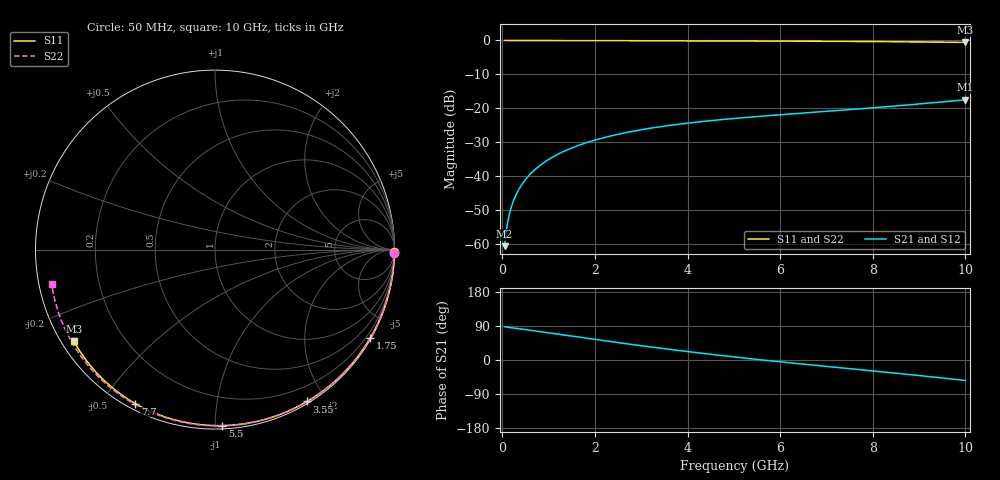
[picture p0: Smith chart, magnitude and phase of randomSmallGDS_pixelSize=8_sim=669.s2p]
! freq	dB(S11)	phase(S11)	dB(S12)	phase(S12)
!  dB(S21)	phase(S21)	dB(S22)	phase(S22)
!S-par simulation data
#  GHz  S  DB  R 50
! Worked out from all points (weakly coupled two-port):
!   200 points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, 50 MHz to 10 GHz, reference 50 ohm
!   highest |S21| = -17.46 dB at 10 GHz (marker M1); lowest = -60.5 dB at 50 MHz (marker M2)
!   lowest |S11| = -0.6 dB at 10 GHz (marker M3), VSWR 30.94, Z = 1.76 - j14.8 ohm
!   |S11| at or under -10 dB: nowhere
!   |S22| runs from -0.6 to 0.0 dB; largest |S21 - S12| = 0
!   S11 on the Smith chart (normalised r, x): 50 MHz: open; 1.75 GHz: 0.04, -3.76; 3.55 GHz: 0.02, -1.78; 5.5 GHz: 0.02, -1.04; 7.7 GHz: 0.02, -0.61; 10 GHz: 0.04, -0.30
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0.05  -0.00 -0.9  -60.53 87.9  -60.53 87.9  -0.00 -1.0
0.1  -0.00 -1.7  -54.65 86.6  -54.65 86.6  -0.00 -1.9
0.15  -0.00 -2.6  -51.23 85.8  -51.23 85.8  -0.00 -2.9
0.2  -0.00 -3.5  -48.78 85.0  -48.78 85.0  -0.00 -3.9
0.25  -0.00 -4.3  -46.88 84.3  -46.88 84.3  -0.00 -4.8
0.35  -0.00 -6.1  -44.00 82.7  -44.00 82.7  -0.01 -6.7
0.5  -0.01 -8.6  -40.94 80.3  -40.94 80.3  -0.01 -9.6
0.7  -0.01 -12.1  -38.05 76.8  -38.05 76.8  -0.02 -13.4
1  -0.02 -17.2  -35.02 71.6  -35.02 71.6  -0.02 -19.1
1.35  -0.03 -23.1  -32.51 65.4  -32.51 65.4  -0.03 -25.6
1.75  -0.04 -29.8  -30.39 58.5  -30.39 58.5  -0.05 -33.1
2.6  -0.06 -43.7  -27.32 44.1  -27.32 44.1  -0.07 -48.5
3.4  -0.09 -56.4  -25.41 31.4  -25.41 31.4  -0.09 -62.6
3.55  -0.09 -58.8  -25.12 29.1  -25.12 29.1  -0.10 -65.2
4.3  -0.11 -70.2  -23.88 17.9  -23.88 17.9  -0.13 -77.9
5.05  -0.14 -81.2  -22.90 7.5  -22.90 7.5  -0.16 -90.2
5.5  -0.16 -87.6  -22.39 1.6  -22.39 1.6  -0.18 -97.4
6.7  -0.23 -104.2  -21.16 -13.4  -21.16 -13.4  -0.25 -116.1
7.7  -0.30 -117.4  -20.14 -25.2  -20.14 -25.2  -0.34 -131.5
8.35  -0.36 -125.8  -19.44 -33.0  -19.44 -33.0  -0.40 -141.5
9.2  -0.45 -136.7  -18.45 -43.5  -18.45 -43.5  -0.51 -154.9
10  -0.56 -147.0  -17.46 -54.1  -17.46 -54.1  -0.63 -168.1
